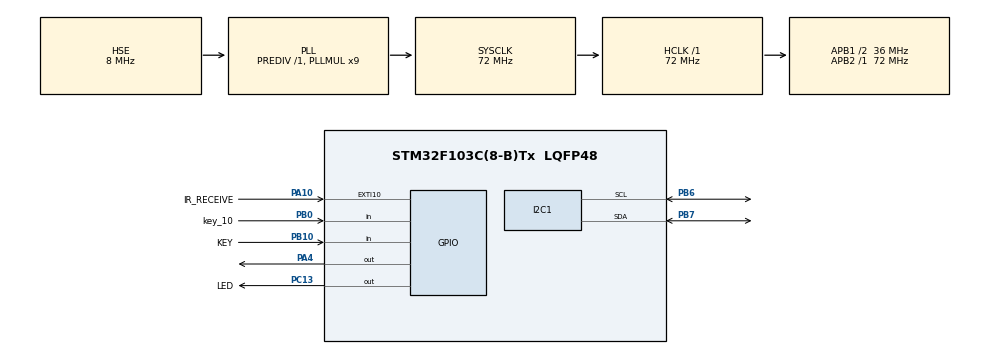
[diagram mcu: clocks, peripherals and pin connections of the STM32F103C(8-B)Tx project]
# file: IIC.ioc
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Dma.I2C1_TX.0.Direction=DMA_MEMORY_TO_PERIPH
Dma.I2C1_TX.0.Instance=DMA1_Channel6
Dma.I2C1_TX.0.MemDataAlignment=DMA_MDATAALIGN_BYTE
Dma.I2C1_TX.0.MemInc=DMA_MINC_ENABLE
Dma.I2C1_TX.0.Mode=DMA_NORMAL
Dma.I2C1_TX.0.PeriphDataAlignment=DMA_PDATAALIGN_BYTE
Dma.I2C1_TX.0.PeriphInc=DMA_PINC_DISABLE
Dma.I2C1_TX.0.Priority=DMA_PRIORITY_LOW
Dma.Request0=I2C1_TX
FREERTOS.Tasks01=defaultTask,24,128,StartDefaultTask,Default,NULL,Dynamic,NULL,NULL
Mcu.Family=STM32F1
Mcu.Name=STM32F103C(8-B)Tx
Mcu.Package=LQFP48
NVIC.DMA1_Channel6_IRQn=true\:5\:0\:false\:false\:true\:true\:false\:true\:true
NVIC.EXTI15_10_IRQn=true\:5\:0\:false\:false\:true\:true\:true\:true\:true
NVIC.I2C1_EV_IRQn=true\:5\:0\:false\:false\:true\:true\:true\:true\:true
NVIC.PriorityGroup=NVIC_PRIORITYGROUP_4
NVIC.TIM4_IRQn=true\:15\:0\:false\:false\:true\:false\:false\:true\:true
NVIC.TimeBase=TIM4_IRQn
NVIC.TimeBaseIP=TIM4
PA10.GPIO_Label=IR_RECEIVE
PA10.GPIO_ModeDefaultEXTI=GPIO_MODE_IT_RISING_FALLING
PA10.GPIO_PuPd=GPIO_PULLUP
PA10.Signal=GPXTI10
PA13.Mode=Serial_Wire
PA13.Signal=SYS_JTMS-SWDIO
PA14.Mode=Serial_Wire
PA14.Signal=SYS_JTCK-SWCLK
PA4.GPIO_PuPd=GPIO_PULLUP
PA4.PinState=GPIO_PIN_SET
PA4.Signal=GPIO_Output
PB0.GPIO_Label=key_10
PB0.GPIO_PuPd=GPIO_PULLUP
PB0.Signal=GPIO_Input
PB10.GPIO_Label=KEY
PB10.GPIO_PuPd=GPIO_PULLUP
PB10.Signal=GPIO_Input
PB6.Mode=I2C
PB6.Signal=I2C1_SCL
PB7.Mode=I2C
PB7.Signal=I2C1_SDA
PC13-TAMPER-RTC.GPIO_Label=LED
PC13-TAMPER-RTC.GPIO_PuPd=GPIO_PULLUP
PC13-TAMPER-RTC.PinState=GPIO_PIN_RESET
PC13-TAMPER-RTC.Signal=GPIO_Output
PD0-OSC_IN.Mode=HSE-External-Oscillator
PD0-OSC_IN.Signal=RCC_OSC_IN
PD1-OSC_OUT.Mode=HSE-External-Oscillator
PD1-OSC_OUT.Signal=RCC_OSC_OUT
ProjectManager.HeapSize=0x200
ProjectManager.StackSize=0x400
ProjectManager.TargetToolchain=CMake
RCC.AHBFreq_Value=72000000
RCC.APB1CLKDivider=RCC_HCLK_DIV2
RCC.APB1Freq_Value=36000000
RCC.APB1TimFreq_Value=72000000
RCC.APB2Freq_Value=72000000
RCC.APB2TimFreq_Value=72000000
RCC.HCLKFreq_Value=72000000
RCC.PLLMUL=RCC_PLL_MUL9
RCC.PLLSourceVirtual=RCC_PLLSOURCE_HSE
RCC.SYSCLKFreq_VALUE=72000000
RCC.SYSCLKSource=RCC_SYSCLKSOURCE_PLLCLK
RCC.USBFreq_Value=72000000
VP_FREERTOS_VS_CMSIS_V2.Mode=CMSIS_V2
VP_SYS_VS_tim4.Mode=TIM4
board=custom

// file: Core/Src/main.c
/* USER CODE BEGIN Header */
/**
  ******************************************************************************
  * @file           : main.c
  * @brief          : Main program body
  ******************************************************************************
  * @attention
  *
  * Copyright (c) 2026 STMicroelectronics.
  * All rights reserved.
  *
  * This software is licensed under terms that can be found in the LICENSE file
  * in the root directory of this software component.
  * If no LICENSE file comes with this software, it is provided AS-IS.
  *
  ******************************************************************************
  */
/* USER CODE END Header */
#include "main.h"
#include "cmsis_os.h"
#include "dma.h"
#include "i2c.h"
#include "gpio.h"

/* USER CODE BEGIN Includes */
#include "driver_oled.h"
/* USER CODE END Includes */

void SystemClock_Config(void);
void MX_FREERTOS_Init(void);

int main(void)
{

  /* MCU Configuration--------------------------------------------------------*/

  /* Reset of all peripherals, Initializes the Flash interface and the Systick. */
  HAL_Init();

  /* Configure the system clock */
  SystemClock_Config();

  /* Initialize all configured peripherals */
  MX_GPIO_Init();
  MX_DMA_Init();
  MX_I2C1_Init();
  /* USER CODE BEGIN 2 */
  /* OLED 走 I2C1, 必须在 MX_I2C1_Init() 之后初始化 */
  OLED_Init();
  OLED_Clear();
  // OLED_PrintString(0, 0, "OLED Ready");
  /* Init scheduler */
  osKernelInitialize();  /* Call init function for freertos objects (in cmsis_os2.c) */
  MX_FREERTOS_Init();

  /* Start scheduler */
  osKernelStart();

  /* We should never get here as control is now taken by the scheduler */
  /* USER CODE END 2 */

  /* Init scheduler */
  osKernelInitialize();  /* Call init function for freertos objects (in cmsis_os2.c) */
  MX_FREERTOS_Init();

  /* Start scheduler */
  osKernelStart();

  /* We should never get here as control is now taken by the scheduler */

  /* Infinite loop */
  /* USER CODE BEGIN WHILE */
  while (1)
  {

    /* LED 翻转 + 延时, 控制发送间隔 */
    HAL_GPIO_TogglePin(LED_GPIO_Port, LED_Pin);
    HAL_Delay(100);

    /* USER CODE END WHILE */

    /* USER CODE BEGIN 3 */
  }

  /* Infinite loop */
  /* USER CODE BEGIN WHILE */
  while (1)
  {

    /* LED 翻转 + 延时, 控制发送间隔 */
    HAL_GPIO_TogglePin(LED_GPIO_Port, LED_Pin);
    HAL_Delay(100);

    /* USER CODE END WHILE */

    /* USER CODE BEGIN 3 */
  }
  /* USER CODE END 3 */
}

void SystemClock_Config(void)
{
  RCC_OscInitTypeDef RCC_OscInitStruct = {0};
  RCC_ClkInitTypeDef RCC_ClkInitStruct = {0};

  /** Initializes the RCC Oscillators according to the specified parameters
  * in the RCC_OscInitTypeDef structure.
  */
  RCC_OscInitStruct.OscillatorType = RCC_OSCILLATORTYPE_HSE;
  RCC_OscInitStruct.HSEState = RCC_HSE_ON;
  RCC_OscInitStruct.HSEPredivValue = RCC_HSE_PREDIV_DIV1;
  RCC_OscInitStruct.HSIState = RCC_HSI_ON;
  RCC_OscInitStruct.PLL.PLLState = RCC_PLL_ON;
  RCC_OscInitStruct.PLL.PLLSource = RCC_PLLSOURCE_HSE;
  RCC_OscInitStruct.PLL.PLLMUL = RCC_PLL_MUL9;
  if (HAL_RCC_OscConfig(&RCC_OscInitStruct) != HAL_OK)
  {
    Error_Handler();
  }

  /** Initializes the CPU, AHB and APB buses clocks
  */
  RCC_ClkInitStruct.ClockType = RCC_CLOCKTYPE_HCLK|RCC_CLOCKTYPE_SYSCLK
                              |RCC_CLOCKTYPE_PCLK1|RCC_CLOCKTYPE_PCLK2;
  RCC_ClkInitStruct.SYSCLKSource = RCC_SYSCLKSOURCE_PLLCLK;
  RCC_ClkInitStruct.AHBCLKDivider = RCC_SYSCLK_DIV1;
  RCC_ClkInitStruct.APB1CLKDivider = RCC_HCLK_DIV2;
  RCC_ClkInitStruct.APB2CLKDivider = RCC_HCLK_DIV1;

  if (HAL_RCC_ClockConfig(&RCC_ClkInitStruct, FLASH_LATENCY_2) != HAL_OK)
  {
    Error_Handler();
  }
}

void HAL_TIM_PeriodElapsedCallback(TIM_HandleTypeDef *htim)
{
  if (htim->Instance == TIM4)
  {
    HAL_IncTick();
  }
}

void Error_Handler(void)
{
  __disable_irq();
  while (1)
  {
  }
}

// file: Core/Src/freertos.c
/* USER CODE BEGIN Header */
/**
  ******************************************************************************
  * File Name          : freertos.c
  * Description        : Code for freertos applications
  ******************************************************************************
  * @attention
  *
  * Copyright (c) 2026 STMicroelectronics.
  * All rights reserved.
  *
  * This software is licensed under terms that can be found in the LICENSE file
  * in the root directory of this software component.
  * If no LICENSE file comes with this software, it is provided AS-IS.
  *
  ******************************************************************************
  */
/* USER CODE END Header */

#include "FreeRTOS.h"
#include "task.h"
#include "main.h"
#include "cmsis_os.h"

/* USER CODE BEGIN Includes */
#include "driver_oled.h"
#include "driver_ir_receiver.h"
#include "driver_led.h"
#include "driver_timer.h"
#include "queue.h"
#include "stdio.h"
#include "dma.h"
#include "semphr.h"
#include "driver_oled.h"
#include "i2c.h"
/* USER CODE END Includes */

/* USER CODE BEGIN PTD */
// 消息结构
typedef struct
{
  uint8_t task_id;
  uint32_t value;
  uint32_t time;
} PrintMesage_t;
/* USER CODE END PTD */

/* USER CODE BEGIN PD */
/* ---------------- 2. 全局队列句柄 ---------------- */
QueueHandle_t xPrintQueue;  // 打印队列句柄
/* USER CODE END PD */

/* USER CODE BEGIN Variables */

/* Task1/2/3 的任务句柄, 保存起来供按键任务挂起/恢复 */

/* USER CODE END Variables */
/* Definitions for defaultTask */
osThreadId_t defaultTaskHandle;
const osThreadAttr_t defaultTask_attributes = {
  .name = "defaultTask",
  .stack_size = 128 * 4,
  .priority = (osPriority_t) osPriorityNormal,
};

/* USER CODE BEGIN FunctionPrototypes */
void Task(void *pvParameters)
{
  uint8_t task_id = (uint8_t)(uintptr_t)pvParameters;  // 获取任务 ID
  PrintMesage_t msg;  // 定义消息结构体
  msg.task_id = task_id;  // 设置任务 ID
  uint32_t cnt = 0;  // 定义计数器
  // 延时一段时间, 让 OLED 任务先运行, 避免打印队列满
  vTaskDelay(pdMS_TO_TICKS(2000+task_id * 100));

  for (;;)
  {
    cnt++;  // 计数器自增
    msg.value = cnt;
    msg.task_id = task_id;
    msg.time = HAL_GetTick();   // 获取当前系统时间戳
    xQueueSend(xPrintQueue, &msg, portMAX_DELAY);  // 将消息发送到打印队列

    vTaskDelay(pdMS_TO_TICKS(3000 + task_id * 100));  // 延时 1 秒 + 任务 ID * 100 毫秒
  }
}
void OLEDTask(void *pvParameters)
{
  PrintMesage_t msg;  // 定义消息结构体
  for (;;)
  {
    // 从打印队列中接收消息
    if (xQueueReceive(xPrintQueue, &msg, portMAX_DELAY) == pdPASS)
    {
      // 清屏
      OLED_ClearFrameBuffer();
      // 打印任务 ID
      char buffer[32];
      sprintf(buffer, "Task ID: %d", msg.task_id);
      OLED_PrintString(0, 0, buffer);
      // 打印计数值
      sprintf(buffer, "Value: %lu", (unsigned long)msg.value);
      OLED_PrintString(0, 2, buffer);
      // 打印时间戳
      sprintf(buffer, "Time: %lu ms", (unsigned long)msg.time);
      OLED_PrintString(0,4, buffer);

      // 用 DMA 逐页把 Framebuffer 刷新到 OLED
      for (uint8_t page = 0; page < 8; page++)
      {
        // 等上一页的 DMA 传输完成, 否则会返回 HAL_BUSY
        while (OLED_IsDmaBusy())
        {
          vTaskDelay(pdMS_TO_TICKS(1));
        }

        if (OLED_FlushDMA_Step(page) != 0)
        {
          break;  // 启动失败, 放弃本次刷新
        }
      }

      // 等最后一页传输完成
      while (OLED_IsDmaBusy())
      {
        vTaskDelay(pdMS_TO_TICKS(1));
      }
    }
    vTaskDelay(pdMS_TO_TICKS(500));  // 让出 CPU, 让其他任务运行
  }
}

/* USER CODE END FunctionPrototypes */

void StartDefaultTask(void *argument);

void MX_FREERTOS_Init(void); /* (MISRA C 2004 rule 8.1) */

void MX_FREERTOS_Init(void) {

  /* Create the thread(s) */
  /* creation of defaultTask */
  defaultTaskHandle = osThreadNew(StartDefaultTask, NULL, &defaultTask_attributes);

  /* USER CODE BEGIN RTOS_THREADS */
  /* add threads, ... */
  // 创建打印队列, 队列长度为 10, 每个元素大小为 PrintMesage_t
  xPrintQueue = xQueueCreate(10, sizeof(PrintMesage_t));
  // 创建 5 个任务, 每个任务的优先级为 2, 栈大小为 128
  for (int i = 0; i < 5; i++)
  {
    xTaskCreate(Task, "Task", 128, (void*)i, 2, NULL);
  }
  xTaskCreate(OLEDTask, "OLED", 256, NULL, 1, NULL);
  /* USER CODE END RTOS_THREADS */

}

void StartDefaultTask(void *argument)
{
  /* USER CODE BEGIN StartDefaultTask */
  /* Infinite loop */
  for(;;)
  {
    // OLED_PrintString(0, 0, "Hello World!");
    // HAL_Delay(500);
    HAL_GPIO_TogglePin(LED_GPIO_Port, LED_Pin);
    vTaskDelay(pdMS_TO_TICKS(100));      // 用 vTaskDelay 代替 HAL_Delay
  }
  /* USER CODE END StartDefaultTask */
}
